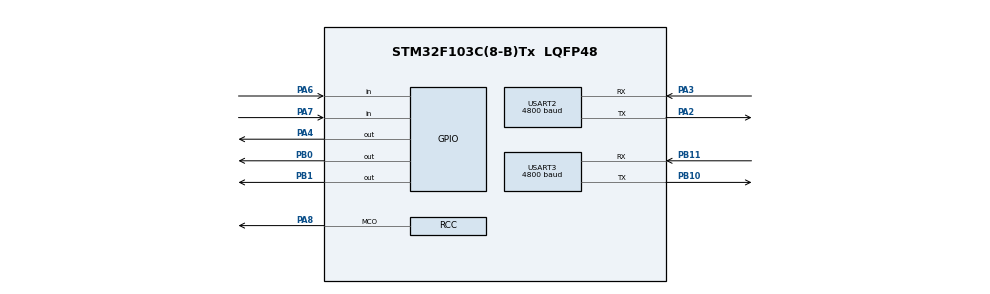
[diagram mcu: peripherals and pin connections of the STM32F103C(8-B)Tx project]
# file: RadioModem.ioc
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Mcu.Family=STM32F1
Mcu.Name=STM32F103C(8-B)Tx
Mcu.Package=LQFP48
NVIC.PriorityGroup=NVIC_PRIORITYGROUP_4
NVIC.RCC_IRQn=true\:0\:0\:false\:false\:true\:true\:false\:true
NVIC.TIM3_IRQn=true\:0\:0\:false\:false\:true\:true\:true\:true
NVIC.TIM4_IRQn=true\:0\:0\:false\:false\:true\:true\:true\:true
NVIC.USART2_IRQn=true\:0\:0\:false\:false\:true\:true\:true\:true
NVIC.USART3_IRQn=true\:0\:0\:false\:false\:true\:true\:true\:true
PA13.Mode=Serial_Wire
PA13.Signal=SYS_JTMS-SWDIO
PA14.Mode=Serial_Wire
PA14.Signal=SYS_JTCK-SWCLK
PA2.Mode=Asynchronous
PA2.Signal=USART2_TX
PA3.Mode=Asynchronous
PA3.Signal=USART2_RX
PA4.GPIO_PuPd=GPIO_PULLUP
PA4.Signal=GPIO_Output
PA6.Signal=GPIO_Input
PA7.Signal=GPIO_Input
PA8.GPIO_Speed=GPIO_SPEED_FREQ_HIGH
PA8.Mode=Clock-out
PA8.Signal=RCC_MCO
PB0.GPIO_ModeDefaultOutputPP=GPIO_MODE_OUTPUT_PP
PB0.GPIO_PuPd=GPIO_NOPULL
PB0.PinState=GPIO_PIN_RESET
PB0.Signal=GPIO_Output
PB1.GPIO_PuPd=GPIO_PULLUP
PB1.PinState=GPIO_PIN_RESET
PB1.Signal=GPIO_Output
PB10.Mode=Asynchronous
PB10.Signal=USART3_TX
PB11.Mode=Asynchronous
PB11.Signal=USART3_RX
ProjectManager.HeapSize=0x200
ProjectManager.StackSize=0x400
ProjectManager.TargetToolchain=MDK-ARM V5
RCC.AHBFreq_Value=8000000
RCC.APB1Freq_Value=8000000
RCC.APB1TimFreq_Value=8000000
RCC.APB2Freq_Value=8000000
RCC.APB2TimFreq_Value=8000000
RCC.HCLKFreq_Value=8000000
RCC.HSICalibrationValue=16
RCC.RCC_MCOSource=RCC_MCO1SOURCE_HSI
RCC.SYSCLKFreq_VALUE=8000000
RCC.USBFreq_Value=8000000
TIM3.Period=1
TIM3.Prescaler=207
TIM4.Period=7999
TIM4.Prescaler=999
USART2.BaudRate=4800
USART2.VirtualMode=VM_ASYNC
USART3.BaudRate=4800
USART3.VirtualMode=VM_ASYNC
VP_TIM3_VS_ClockSourceINT.Mode=Internal
VP_TIM4_VS_ClockSourceINT.Mode=Internal
board=custom

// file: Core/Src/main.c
/* USER CODE BEGIN Header */
/**
  ******************************************************************************
  * @file           : main.c
  * @brief          : Main program body
  ******************************************************************************
  * @attention
  *
  * Copyright (c) 2022 STMicroelectronics.
  * All rights reserved.
  *
  * This software is licensed under terms that can be found in the LICENSE file
  * in the root directory of this software component.
  * If no LICENSE file comes with this software, it is provided AS-IS.
  *
  ******************************************************************************
  */
/* USER CODE END Header */
#include "main.h"

/* USER CODE BEGIN Includes */
#include <stdio.h>
#include <string.h>
/* USER CODE END Includes */

/* USER CODE BEGIN PM */
volatile uint8_t send_logs_flag = 0;
char rx_buf1[1024];
char rx_buf2[1024];
volatile uint32_t rx_pos1;
volatile uint32_t rx_pos2;
/* USER CODE END PM */

void SystemClock_Config(void);
static void MX_GPIO_Init(void);
static void MX_TIM4_Init(void);
static void MX_USART2_UART_Init(void);
static void MX_USART3_UART_Init(void);
static void MX_TIM3_Init(void);
/* USER CODE BEGIN PFP */
void usart_send_byte1 (char chr);
void usart_send_byte2 (char chr);
void usart_send_string1(const char str[]);
void usart_send_string2(const char str[]);
void clear_rx_buf1(void);
void clear_rx_buf2(void);
/* USER CODE END PFP */

int main(void)
{

  /* MCU Configuration--------------------------------------------------------*/

  /* Reset of all peripherals, Initializes the Flash interface and the Systick. */
  LL_APB2_GRP1_EnableClock(LL_APB2_GRP1_PERIPH_AFIO);
  LL_APB1_GRP1_EnableClock(LL_APB1_GRP1_PERIPH_PWR);

  /* System interrupt init*/
  NVIC_SetPriorityGrouping(NVIC_PRIORITYGROUP_4);

  /* SysTick_IRQn interrupt configuration */
  NVIC_SetPriority(SysTick_IRQn, NVIC_EncodePriority(NVIC_GetPriorityGrouping(),15, 0));

  /* Peripheral interrupt init*/
  /* RCC_IRQn interrupt configuration */
  NVIC_SetPriority(RCC_IRQn, NVIC_EncodePriority(NVIC_GetPriorityGrouping(),0, 0));
  NVIC_EnableIRQ(RCC_IRQn);

  /** NOJTAG: JTAG-DP Disabled and SW-DP Enabled
  */
  LL_GPIO_AF_Remap_SWJ_NOJTAG();

  /* Configure the system clock */
  SystemClock_Config();

  /* Initialize all configured peripherals */
  MX_GPIO_Init();
  MX_TIM4_Init();
  MX_USART2_UART_Init();
  MX_USART3_UART_Init();
  MX_TIM3_Init();
  /* USER CODE BEGIN 2 */
	LL_TIM_EnableUpdateEvent(TIM4);
	LL_TIM_EnableIT_UPDATE(TIM4);
	LL_TIM_EnableCounter(TIM4);

	LL_TIM_EnableUpdateEvent(TIM3);
	LL_TIM_EnableIT_UPDATE(TIM3);
	LL_TIM_EnableCounter(TIM3);

	LL_USART_EnableIT_RXNE(USART3);
	LL_USART_EnableIT_RXNE(USART2);
  /* USER CODE END 2 */

  /* Infinite loop */
  /* USER CODE BEGIN WHILE */
  while (1)
  {
		if (send_logs_flag)
		{
			if (rx_buf1[0])
			{
				usart_send_string2(rx_buf1);
				clear_rx_buf1();
			}
			if (rx_buf2[0])
			{
				if(LL_GPIO_IsInputPinSet(GPIOA,LL_GPIO_PIN_6))
				{
					while(LL_GPIO_IsInputPinSet(GPIOA,LL_GPIO_PIN_6)){}
				}
				if(!LL_GPIO_IsInputPinSet(GPIOA,LL_GPIO_PIN_6))
				{
					while(!LL_GPIO_IsInputPinSet(GPIOA,LL_GPIO_PIN_6)){}
				}
				usart_send_string1(rx_buf2);
				clear_rx_buf2();
			}
			send_logs_flag = 0;
		}
    /* USER CODE END WHILE */

  }
}

void SystemClock_Config(void)
{
  LL_FLASH_SetLatency(LL_FLASH_LATENCY_0);
  while(LL_FLASH_GetLatency()!= LL_FLASH_LATENCY_0)
  {
  }
  LL_RCC_HSI_SetCalibTrimming(16);
  LL_RCC_HSI_Enable();

   /* Wait till HSI is ready */
  while(LL_RCC_HSI_IsReady() != 1)
  {

  }
  LL_RCC_SetAHBPrescaler(LL_RCC_SYSCLK_DIV_1);
  LL_RCC_SetAPB1Prescaler(LL_RCC_APB1_DIV_1);
  LL_RCC_SetAPB2Prescaler(LL_RCC_APB2_DIV_1);
  LL_RCC_SetSysClkSource(LL_RCC_SYS_CLKSOURCE_HSI);

   /* Wait till System clock is ready */
  while(LL_RCC_GetSysClkSource() != LL_RCC_SYS_CLKSOURCE_STATUS_HSI)
  {

  }
  LL_Init1msTick(8000000);
  LL_SetSystemCoreClock(8000000);
  LL_RCC_ConfigMCO(LL_RCC_MCO1SOURCE_HSI);
}

static void MX_TIM3_Init(void)
{

  LL_TIM_InitTypeDef TIM_InitStruct = {0};

  /* Peripheral clock enable */
  LL_APB1_GRP1_EnableClock(LL_APB1_GRP1_PERIPH_TIM3);

  /* TIM3 interrupt Init */
  NVIC_SetPriority(TIM3_IRQn, NVIC_EncodePriority(NVIC_GetPriorityGrouping(),0, 0));
  NVIC_EnableIRQ(TIM3_IRQn);

  TIM_InitStruct.Prescaler = 207;
  TIM_InitStruct.CounterMode = LL_TIM_COUNTERMODE_UP;
  TIM_InitStruct.Autoreload = 1;
  TIM_InitStruct.ClockDivision = LL_TIM_CLOCKDIVISION_DIV1;
  LL_TIM_Init(TIM3, &TIM_InitStruct);
  LL_TIM_DisableARRPreload(TIM3);
  LL_TIM_SetClockSource(TIM3, LL_TIM_CLOCKSOURCE_INTERNAL);
  LL_TIM_SetTriggerOutput(TIM3, LL_TIM_TRGO_RESET);
  LL_TIM_DisableMasterSlaveMode(TIM3);

}

static void MX_TIM4_Init(void)
{

  LL_TIM_InitTypeDef TIM_InitStruct = {0};

  /* Peripheral clock enable */
  LL_APB1_GRP1_EnableClock(LL_APB1_GRP1_PERIPH_TIM4);

  /* TIM4 interrupt Init */
  NVIC_SetPriority(TIM4_IRQn, NVIC_EncodePriority(NVIC_GetPriorityGrouping(),0, 0));
  NVIC_EnableIRQ(TIM4_IRQn);

  TIM_InitStruct.Prescaler = 999;
  TIM_InitStruct.CounterMode = LL_TIM_COUNTERMODE_UP;
  TIM_InitStruct.Autoreload = 7999;
  TIM_InitStruct.ClockDivision = LL_TIM_CLOCKDIVISION_DIV1;
  LL_TIM_Init(TIM4, &TIM_InitStruct);
  LL_TIM_DisableARRPreload(TIM4);
  LL_TIM_SetClockSource(TIM4, LL_TIM_CLOCKSOURCE_INTERNAL);
  LL_TIM_SetTriggerOutput(TIM4, LL_TIM_TRGO_RESET);
  LL_TIM_DisableMasterSlaveMode(TIM4);

}

static void MX_USART2_UART_Init(void)
{

  LL_USART_InitTypeDef USART_InitStruct = {0};

  LL_GPIO_InitTypeDef GPIO_InitStruct = {0};

  /* Peripheral clock enable */
  LL_APB1_GRP1_EnableClock(LL_APB1_GRP1_PERIPH_USART2);

  LL_APB2_GRP1_EnableClock(LL_APB2_GRP1_PERIPH_GPIOA);
  /**USART2 GPIO Configuration
  PA2   ------> USART2_TX
  PA3   ------> USART2_RX
  */
  GPIO_InitStruct.Pin = LL_GPIO_PIN_2;
  GPIO_InitStruct.Mode = LL_GPIO_MODE_ALTERNATE;
  GPIO_InitStruct.Speed = LL_GPIO_SPEED_FREQ_HIGH;
  GPIO_InitStruct.OutputType = LL_GPIO_OUTPUT_PUSHPULL;
  LL_GPIO_Init(GPIOA, &GPIO_InitStruct);

  GPIO_InitStruct.Pin = LL_GPIO_PIN_3;
  GPIO_InitStruct.Mode = LL_GPIO_MODE_FLOATING;
  LL_GPIO_Init(GPIOA, &GPIO_InitStruct);

  /* USART2 interrupt Init */
  NVIC_SetPriority(USART2_IRQn, NVIC_EncodePriority(NVIC_GetPriorityGrouping(),0, 0));
  NVIC_EnableIRQ(USART2_IRQn);

  USART_InitStruct.BaudRate = 4800;
  USART_InitStruct.DataWidth = LL_USART_DATAWIDTH_8B;
  USART_InitStruct.StopBits = LL_USART_STOPBITS_1;
  USART_InitStruct.Parity = LL_USART_PARITY_NONE;
  USART_InitStruct.TransferDirection = LL_USART_DIRECTION_TX_RX;
  USART_InitStruct.HardwareFlowControl = LL_USART_HWCONTROL_NONE;
  USART_InitStruct.OverSampling = LL_USART_OVERSAMPLING_16;
  LL_USART_Init(USART2, &USART_InitStruct);
  LL_USART_ConfigAsyncMode(USART2);
  LL_USART_Enable(USART2);

}

static void MX_USART3_UART_Init(void)
{

  LL_USART_InitTypeDef USART_InitStruct = {0};

  LL_GPIO_InitTypeDef GPIO_InitStruct = {0};

  /* Peripheral clock enable */
  LL_APB1_GRP1_EnableClock(LL_APB1_GRP1_PERIPH_USART3);

  LL_APB2_GRP1_EnableClock(LL_APB2_GRP1_PERIPH_GPIOB);
  /**USART3 GPIO Configuration
  PB10   ------> USART3_TX
  PB11   ------> USART3_RX
  */
  GPIO_InitStruct.Pin = LL_GPIO_PIN_10;
  GPIO_InitStruct.Mode = LL_GPIO_MODE_ALTERNATE;
  GPIO_InitStruct.Speed = LL_GPIO_SPEED_FREQ_HIGH;
  GPIO_InitStruct.OutputType = LL_GPIO_OUTPUT_PUSHPULL;
  LL_GPIO_Init(GPIOB, &GPIO_InitStruct);

  GPIO_InitStruct.Pin = LL_GPIO_PIN_11;
  GPIO_InitStruct.Mode = LL_GPIO_MODE_FLOATING;
  LL_GPIO_Init(GPIOB, &GPIO_InitStruct);

  /* USART3 interrupt Init */
  NVIC_SetPriority(USART3_IRQn, NVIC_EncodePriority(NVIC_GetPriorityGrouping(),0, 0));
  NVIC_EnableIRQ(USART3_IRQn);

  USART_InitStruct.BaudRate = 4800;
  USART_InitStruct.DataWidth = LL_USART_DATAWIDTH_8B;
  USART_InitStruct.StopBits = LL_USART_STOPBITS_1;
  USART_InitStruct.Parity = LL_USART_PARITY_NONE;
  USART_InitStruct.TransferDirection = LL_USART_DIRECTION_TX_RX;
  USART_InitStruct.HardwareFlowControl = LL_USART_HWCONTROL_NONE;
  USART_InitStruct.OverSampling = LL_USART_OVERSAMPLING_16;
  LL_USART_Init(USART3, &USART_InitStruct);
  LL_USART_ConfigAsyncMode(USART3);
  LL_USART_Enable(USART3);

}

static void MX_GPIO_Init(void)
{
  LL_GPIO_InitTypeDef GPIO_InitStruct = {0};

  /* GPIO Ports Clock Enable */
  LL_APB2_GRP1_EnableClock(LL_APB2_GRP1_PERIPH_GPIOD);
  LL_APB2_GRP1_EnableClock(LL_APB2_GRP1_PERIPH_GPIOA);
  LL_APB2_GRP1_EnableClock(LL_APB2_GRP1_PERIPH_GPIOB);

  /**/
  LL_GPIO_ResetOutputPin(GPIOB, LL_GPIO_PIN_0|LL_GPIO_PIN_1);

  /**/
  GPIO_InitStruct.Pin = LL_GPIO_PIN_6|LL_GPIO_PIN_7;
  GPIO_InitStruct.Mode = LL_GPIO_MODE_FLOATING;
  LL_GPIO_Init(GPIOA, &GPIO_InitStruct);

  /**/
  GPIO_InitStruct.Pin = LL_GPIO_PIN_0|LL_GPIO_PIN_1;
  GPIO_InitStruct.Mode = LL_GPIO_MODE_OUTPUT;
  GPIO_InitStruct.Speed = LL_GPIO_SPEED_FREQ_LOW;
  GPIO_InitStruct.OutputType = LL_GPIO_OUTPUT_PUSHPULL;
  LL_GPIO_Init(GPIOB, &GPIO_InitStruct);

  /**/
  GPIO_InitStruct.Pin = LL_GPIO_PIN_8;
  GPIO_InitStruct.Mode = LL_GPIO_MODE_ALTERNATE;
  GPIO_InitStruct.Speed = LL_GPIO_SPEED_FREQ_HIGH;
  GPIO_InitStruct.OutputType = LL_GPIO_OUTPUT_PUSHPULL;
  LL_GPIO_Init(GPIOA, &GPIO_InitStruct);

}

/* USER CODE BEGIN 4 */
void usart_send_byte1 (char chr)
{
					LL_USART_TransmitData8(USART3, chr);
					while(!LL_USART_IsActiveFlag_TC(USART3)){};
}

void usart_send_string1(const char str[])
{
	uint16_t i = 0;
	while(str[i])
	{
		usart_send_byte1(str[i++]);
	}
}

void usart_send_byte2 (char chr)
{
					LL_USART_TransmitData8(USART2, chr);
					while(!LL_USART_IsActiveFlag_TC(USART2)){};
}

void usart_send_string2(const char str[])
{
	uint16_t i = 0;
	while(str[i])
	{
		usart_send_byte2(str[i++]);
	}
}

void clear_rx_buf1(void)
{
	for(;rx_pos1 != 0;rx_pos1--)
	{
		rx_buf1[rx_pos1]=0x0;
	}
	rx_buf1[0]=0x0;
}

void clear_rx_buf2(void)
{
	for(;rx_pos2 != 0;rx_pos2--)
	{
		rx_buf2[rx_pos2]=0x0;
	}
	rx_buf2[0] = 0x0;
}
/* USER CODE END 4 */

void Error_Handler(void)
{
  __disable_irq();
  while (1)
  {
  }
}
